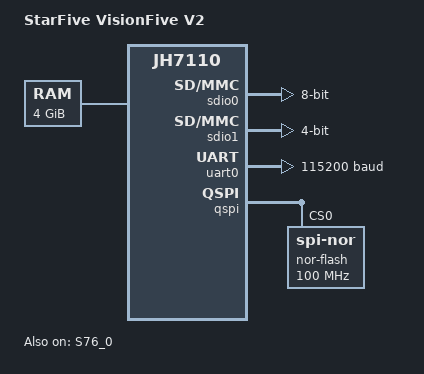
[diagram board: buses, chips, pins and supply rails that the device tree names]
// SPDX-License-Identifier: GPL-2.0 OR MIT
/*
 * Copyright (C) 2022 StarFive Technology Co., Ltd.
 */

/dts-v1/;

#include "jh7110.dtsi"
#include <dt-bindings/pinctrl/pinctrl-starfive-jh7110.h>
/ {
	#address-cells = <2>;
	#size-cells = <2>;
	model = "StarFive VisionFive V2";
	compatible = "starfive,jh7110";

	aliases {
		spi0 = &qspi;
		mmc0 = &sdio0;
		mmc1 = &sdio1;
	};

	chosen {
		stdout-path = "/soc/serial@10000000:115200";
	};

	cpus {
		timebase-frequency = <4000000>;
	};

	memory@40000000 {
		device_type = "memory";
		reg = <0x0 0x40000000 0x1 0x0>;
	};

	soc {
		sys_syscon: sys_syscon@13030000 {
			compatible = "syscon";
			reg = <0x0 0x13030000 0x0 0x1000>;
		};
	};
};

&S76_0 {
	status = "okay";
};

&osc {
	clock-frequency = <24000000>;
};

&clk_rtc {
	clock-frequency = <32768>;
};

&gmac0_rmii_refin {
	clock-frequency = <50000000>;
};

&gmac0_rgmii_rxin {
	clock-frequency = <125000000>;
};

&gmac1_rmii_refin {
	clock-frequency = <50000000>;
};

&gmac1_rgmii_rxin {
	clock-frequency = <125000000>;
};

&i2stx_bclk_ext {
	clock-frequency = <12288000>;
};

&i2stx_lrck_ext {
	clock-frequency = <192000>;
};

&i2srx_bclk_ext {
	clock-frequency = <12288000>;
};

&i2srx_lrck_ext {
	clock-frequency = <192000>;
};

&tdm_ext {
	clock-frequency = <49152000>;
};

&mclk_ext {
	clock-frequency = <12288000>;
};

&gpio {
	status = "okay";
	uart0_pins: uart0-0 {
		tx-pins {
			pinmux = <GPIOMUX(5, GPOUT_SYS_UART0_TX,
						GPOEN_ENABLE, GPI_NONE)>;
			bias-disable;
			drive-strength = <12>;
			input-disable;
			input-schmitt-disable;
			slew-rate = <0>;
		};

		rx-pins {
			pinmux = <GPIOMUX(6, GPOUT_LOW,
						GPOEN_DISABLE, GPI_SYS_UART0_RX)>;
			bias-pull-up;
			drive-strength = <2>;
			input-enable;
			input-schmitt-enable;
			slew-rate = <0>;
		};
	};

	mmc0_pins: mmc0-pins {
		 mmc0-pins-rest {
			pinmux = <GPIOMUX(62, GPOUT_SYS_SDIO0_RST,
						GPOEN_ENABLE, GPI_NONE)>;
			bias-pull-up;
			drive-strength = <12>;
			input-disable;
			input-schmitt-disable;
			slew-rate = <0>;
		};
	};

	sdcard1_pins: sdcard1-pins {
		sdcard1-pins0 {
			pinmux = <GPIOMUX(10, GPOUT_SYS_SDIO1_CLK,
						GPOEN_ENABLE, GPI_NONE)>;
			bias-pull-up;
			drive-strength = <12>;
			input-disable;
			input-schmitt-disable;
			slew-rate = <0>;
		};

		sdcard1-pins1 {
			pinmux = <GPIOMUX(9, GPOUT_SYS_SDIO1_CMD,
						GPOEN_SYS_SDIO1_CMD, GPI_SYS_SDIO1_CMD)>;
			bias-pull-up;
			drive-strength = <12>;
			input-enable;
			input-schmitt-enable;
			slew-rate = <0>;
		};

		sdcard1-pins2 {
			pinmux = <GPIOMUX(11, GPOUT_SYS_SDIO1_DATA0,
						GPOEN_SYS_SDIO1_DATA0, GPI_SYS_SDIO1_DATA0)>;
			bias-pull-up;
			drive-strength = <12>;
			input-enable;
			input-schmitt-enable;
			slew-rate = <0>;
		};

		sdcard1-pins3 {
			pinmux = <GPIOMUX(12, GPOUT_SYS_SDIO1_DATA1,
						GPOEN_SYS_SDIO1_DATA1, GPI_SYS_SDIO1_DATA1)>;
			bias-pull-up;
			drive-strength = <12>;
			input-enable;
			input-schmitt-enable;
			slew-rate = <0>;
		};

		sdcard1-pins4 {
			pinmux = <GPIOMUX(7, GPOUT_SYS_SDIO1_DATA2,
						GPOEN_SYS_SDIO1_DATA2, GPI_SYS_SDIO1_DATA2)>;
			bias-pull-up;
			drive-strength = <12>;
			input-enable;
			input-schmitt-enable;
			slew-rate = <0>;
		};

		sdcard1-pins5 {
			pinmux = <GPIOMUX(8, GPOUT_SYS_SDIO1_DATA3,
						GPOEN_SYS_SDIO1_DATA3, GPI_SYS_SDIO1_DATA3)>;
			bias-pull-up;
			drive-strength = <12>;
			input-enable;
			input-schmitt-enable;
			slew-rate = <0>;
		};
	};
};

&sdio0 {
	bus-width = <8>;
	pinctrl-names = "default";
	pinctrl-0 = <&mmc0_pins>;
	status = "okay";
};

&sdio1 {
	bus-width = <4>;
	pinctrl-names = "default";
	pinctrl-0 = <&sdcard1_pins>;
	status = "okay";
};

&uart0 {
	reg-offset = <0>;
	current-speed = <115200>;
	clock-frequency = <24000000>;
	pinctrl-names = "default";
	pinctrl-0 = <&uart0_pins>;
	status = "okay";
};

&qspi {
	spi-max-frequency = <250000000>;
	status = "okay";

	nor-flash@0 {
		compatible = "jedec,spi-nor";
		reg=<0>;
		spi-max-frequency = <100000000>;
		cdns,tshsl-ns = <1>;
		cdns,tsd2d-ns = <1>;
		cdns,tchsh-ns = <1>;
		cdns,tslch-ns = <1>;
	};
};

&syscrg {
	starfive,sys-syscon = <&sys_syscon>;
};
